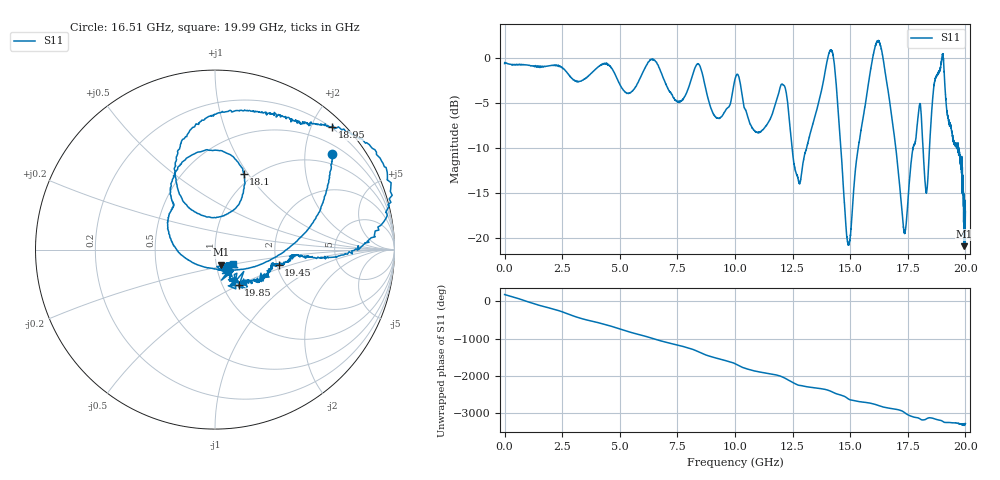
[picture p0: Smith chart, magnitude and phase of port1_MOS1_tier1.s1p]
! Created with skrf 1.8.0 (http://scikit-rf.org).
# GHz S RI R 50.0
!freq ReS11 ImS11
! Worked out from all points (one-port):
!   10000 points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, 3 MHz to 20 GHz, reference 50 ohm
!   lowest |S11| = -20.9 dB at 19.95 GHz (marker M1), VSWR 1.20, Z = 52.6 - j8.89 ohm
!   |S11| at or under -10 dB: 12.48 GHz to 13.11 GHz (629.8 MHz wide, 4.92 % of centre); 14.6 GHz to 15.35 GHz (750.3 MHz wide, 5.01 % of centre); 16.98 GHz to 17.73 GHz (748.4 MHz wide, 4.31 % of centre) (the widest 3 of 11)
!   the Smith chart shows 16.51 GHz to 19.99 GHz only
!   S11 on the Smith chart (normalised r, x): 16.51 GHz: 0.71, +2.64; 18.1 GHz: 0.90, +0.96; 18.95 GHz: 0.18, +2.33; 19.45 GHz: 2.05, -0.40; 19.85 GHz: 1.19, -0.49; 19.99 GHz: 1.21, -0.19
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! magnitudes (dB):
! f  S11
! 3 MHz  -0.6
! 2.503 GHz  -1.1
! 5.003 GHz  -3.0
! 6.445 GHz  -0.1
! 7.503 GHz  -4.8
! 8.407 GHz  -0.7
! 9.333 GHz  -6.7
! 10 GHz  -2.3
! 10.98 GHz  -8.3
! 12.1 GHz  -3.0
! 12.5 GHz  -10.5
! 12.83 GHz  -13.8
! 14.19 GHz  0.9
! 14.84 GHz  -19.5
! 15 GHz  -19.9
! 16.01 GHz  0.5
! 16.51 GHz  -1.5
! 17.31 GHz  -18.8
! 17.5 GHz  -16.0
! 18.1 GHz  -6.9
! 18.32 GHz  -14.9
! 18.63 GHz  -3.2
! 18.95 GHz  -0.5
! 19.45 GHz  -8.8
! 19.85 GHz  -12.6
! 19.95 GHz  -20.9
! 19.99 GHz  -17.9
! 20 GHz  -17.1
